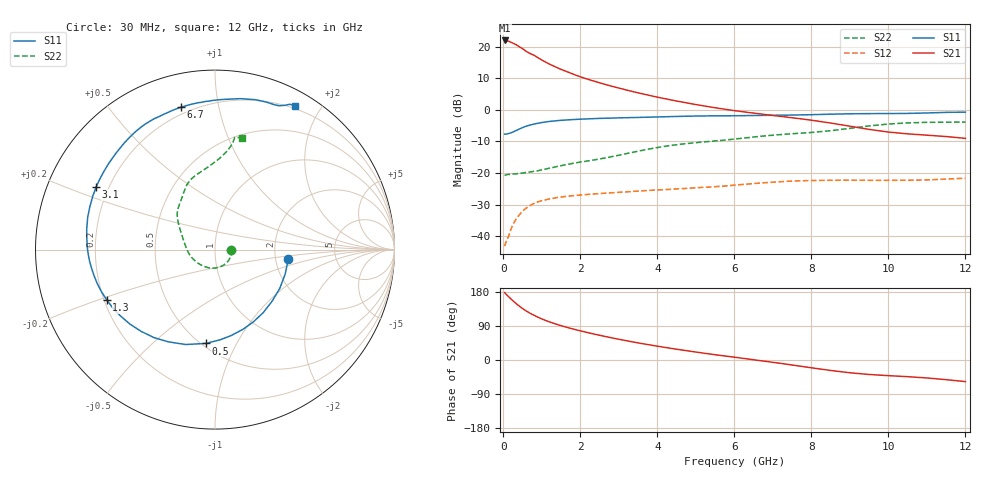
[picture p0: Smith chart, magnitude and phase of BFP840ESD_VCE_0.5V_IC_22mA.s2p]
! Infineon Technologies  Discrete & RF Semiconductors
! BFP840ESD
! VCE =  0.5 V,  IC =  22 mA
! Common Emitter S-Parameters:  May 2012
# GHz  S  MA  R  50
!  f  S11  S21  S12  S22
! GHz  MAG  ANG  MAG  ANG  MAG  ANG  MAG  ANG
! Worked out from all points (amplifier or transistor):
!   93 points, 30 MHz to 12 GHz, reference 50 ohm
!   highest |S21| = 21.9 dB at 30 MHz (marker M1)
!   |S21| within 3 dB of that: start of sweep to 542.1 MHz
!   unconditionally stable (mu >= 1): start of sweep to end of sweep
!   at 1.1 GHz: K = 1.42, MAG = 17.9 dB, |S12| = -28.5 dB
!   at 4.2 GHz: K = 2.42, MAG = 7.7 dB, |S12| = -25.2 dB
!   at 12 GHz: K = 2.03, MAG = 0.5 dB, |S12| = -21.6 dB
!   S11 on the Smith chart (normalised r, x): 30 MHz: 2.35, -0.30; 500 MHz: 0.53, -0.76; 1.3 GHz: 0.21, -0.21; 3.1 GHz: 0.15, +0.24; 6.7 GHz: 0.16, +0.78; 12 GHz: 0.17, +1.69
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0.03  0.412 -7.5  12.47 177.7  0.007 12.8  0.0916 -0.8
0.08  0.4141 -19.3  12.12 172.5  0.0086 29.0  0.0945 -10.8
0.13  0.4208 -31.0  12.14 167.5  0.0099 40.1  0.0952 -18.6
0.18  0.4288 -42.2  11.78 162.5  0.0122 44.9  0.0953 -27.4
0.28  0.4561 -62.1  11.03 153.2  0.0167 48.6  0.0972 -43.1
0.38  0.4867 -79.1  10.2 144.7  0.0207 48.3  0.0986 -57.9
0.5  0.5251 -95.5  9.216 135.5  0.0254 45.9  0.1 -74.4
0.6  0.5536 -107.2  8.325 128.8  0.0282 43.0  0.1029 -87.0
0.7  0.5761 -116.9  7.701 122.9  0.0309 40.5  0.104 -98.3
0.8  0.5962 -124.6  7.258 117.7  0.0333 38.2  0.1069 -108.9
0.9  0.6143 -132.2  6.634 112.7  0.0352 35.8  0.1092 -117.8
1.1  0.6435 -145.0  5.65 104.2  0.0378 31.9  0.1161 -132.9
1.3  0.6648 -155.1  4.928 96.9  0.04 29.2  0.1231 -145.4
1.7  0.6949 -171.0  3.893 84.7  0.0433 24.2  0.1385 -163.5
2.1  0.7149 176.2  3.165 74.4  0.0455 21.4  0.1525 -176.8
3.1  0.7486 152.1  2.129 52.8  0.0502 16.8  0.1977 157.6
4.1  0.7736 133.4  1.539 34.8  0.0545 13.1  0.2597 142.6
6.1  0.8068 109.8  0.954 6.1  0.0652 6.8  0.3502 121.2
6.7  0.8158 103.5  0.858 -2.1  0.0697 3.3  0.3825 115.3
8.5  0.8529 80.5  0.618 -27.6  0.077 -10.7  0.4674 93.6
10.5  0.8774 66.0  0.417 -44.0  0.0771 -21.1  0.621 80.2
12  0.9182 60.9  0.354 -57.0  0.0831 -26.3  0.6397 76.6
